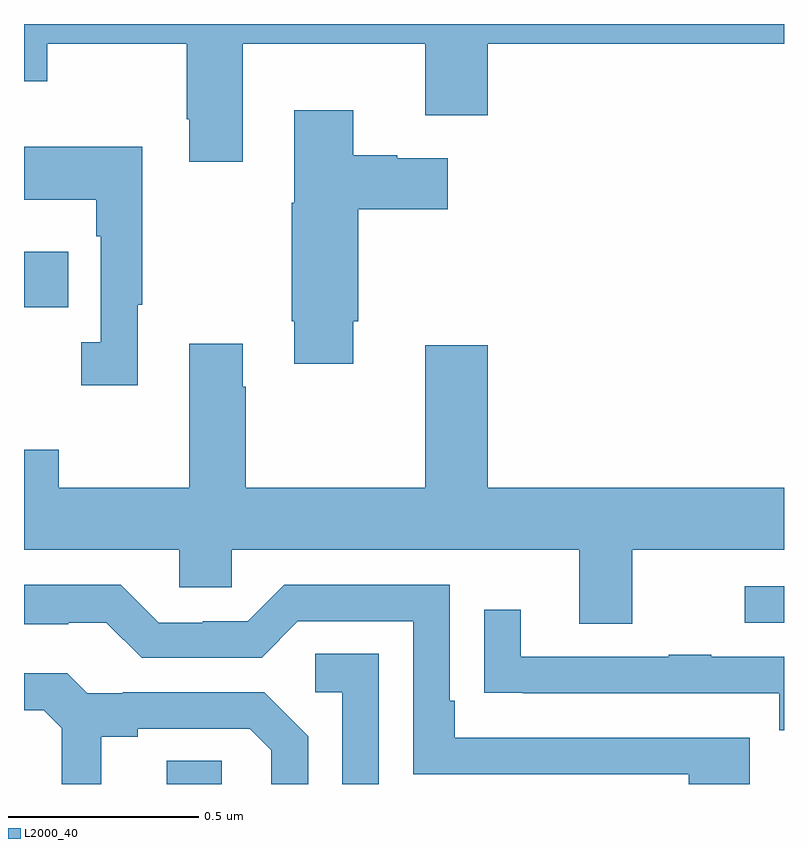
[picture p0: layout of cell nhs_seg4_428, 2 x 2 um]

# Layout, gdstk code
import gdstk
lib = gdstk.Library(unit=1e-6, precision=1e-09)
def R(c, l, rs):  # rectangles x0, y0, x1, y1
    for r in rs: c.add(gdstk.rectangle(r[:2], r[2:], *l))
def P(c, l, *ps):  # polygons
    for p in ps: c.add(gdstk.Polygon(p, *l))
L2000_40 = (2000, 40)

nhs_seg4_428 = lib.new_cell('nhs_seg4_428')
R(nhs_seg4_428, L2000_40, [(116.375,766.9,116.52,766.961), (117.897,767.325,118,767.421), (116,768.154,116.117,768.301)])
P(nhs_seg4_428, L2000_40, [(116.575,768.848),(117.056,768.848),(117.056,768.66),(117.22,768.66),(117.22,768.848),(118,768.848),(118,768.9),(116,768.9),(116,768.749),(116.061,768.749),(116.061,768.848),(116.428,768.848),(116.428,768.649),(116.435,768.649),(116.435,768.537),(116.575,768.537)],
  [(116.866,768.118),(116.879,768.118),(116.879,768.413),(117.115,768.413),(117.115,768.547),(116.982,768.547),(116.982,768.555),(116.866,768.555),(116.866,768.673),(116.711,768.673),(116.711,768.429),(116.704,768.429),(116.704,768.118),(116.711,768.118),(116.711,768.006),(116.866,768.006)],
  [(116.299,768.161),(116.311,768.161),(116.311,768.577),(116,768.577),(116,768.437),(116.19,768.437),(116.19,768.341),(116.202,768.341),(116.202,768.062),(116.151,768.062),(116.151,767.949),(116.299,767.949)],
  [(117.601,767.516),(118,767.516),(118,767.68),(117.22,767.68),(117.22,768.055),(117.056,768.055),(117.056,767.68),(116.583,767.68),(116.583,767.945),(116.575,767.945),(116.575,768.058),(116.435,768.058),(116.435,767.68),(116.091,767.68),(116.091,767.779),(116,767.779),(116,767.516),(116.409,767.516),(116.409,767.418),(116.547,767.418),(116.547,767.516),(117.461,767.516),(117.461,767.322),(117.601,767.322)],
  [(117.91,767.022),(117.133,767.022),(117.133,767.119),(117.12,767.119),(117.12,767.424),(116.685,767.424),(116.589,767.328),(116.471,767.328),(116.471,767.325),(116.355,767.325),(116.255,767.425),(116,767.425),(116,767.321),(116.117,767.321),(116.117,767.325),(116.217,767.325),(116.31,767.232),(116.625,767.232),(116.721,767.328),(117.024,767.328),(117.024,766.926),(117.749,766.926),(117.749,766.9),(117.91,766.9)],
  [(118,767.235),(117.809,767.235),(117.809,767.24),(117.697,767.24),(117.697,767.235),(117.307,767.235),(117.307,767.359),(117.211,767.359),(117.211,767.14),(117.313,767.14),(117.313,767.139),(117.988,767.139),(117.988,767.042),(118,767.042)],
  [(116.934,767.243),(116.766,767.243),(116.766,767.142),(116.838,767.142),(116.838,766.9),(116.934,766.9)],
  [(116.203,767.024),(116.299,767.024),(116.299,767.046),(116.594,767.046),(116.651,766.989),(116.651,766.9),(116.748,766.9),(116.748,767.026),(116.632,767.142),(116.26,767.142),(116.26,767.139),(116.166,767.139),(116.114,767.191),(116,767.191),(116,767.094),(116.052,767.094),(116.099,767.047),(116.099,766.9),(116.203,766.9)])

lib.write_gds('nhs_seg4_428.gds')
